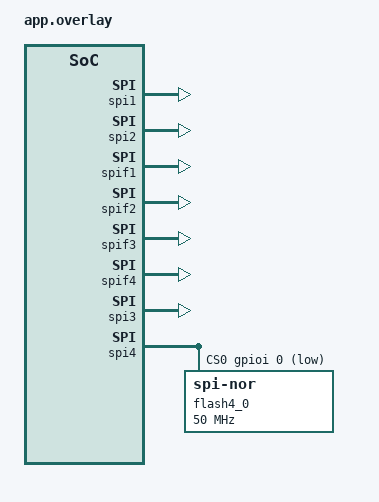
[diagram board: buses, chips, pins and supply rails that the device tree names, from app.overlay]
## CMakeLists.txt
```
# SPDX-License-Identifier: Apache-2.0

cmake_minimum_required(VERSION 3.20.0)

# ---------------------------------------------------------------------------
# pfr_tpm 模块注册。
# zephyr/west.yml 未登记该模块；app.overlay 的 "lsqsh_pinctrl_pfr_tpm.dtsi"
# 必须在 find_package(Zephyr) 之前通过 EXTRA_ZEPHYR_MODULES 就地注册，
# 否则 DT 预处理报 "lsqsh_pinctrl_pfr_tpm.dtsi: No such file or directory"。
# 路径相对本文件推算（上溯 4 级 = 工作区根）。
# ---------------------------------------------------------------------------
get_filename_component(PFR_TPM_DIR
    "${CMAKE_CURRENT_SOURCE_DIR}/../../../../modules/lib/zephyr_pfr_tpm" ABSOLUTE)
set(EXTRA_ZEPHYR_MODULES ${PFR_TPM_DIR})

find_package(Zephyr REQUIRED HINTS $ENV{ZEPHYR_BASE})
project(cpu1_spi_spif_test)

# 项目特定源文件
target_sources(app PRIVATE
    src/main.c
    src/spi_test.c
    src/spi_flash.c
    src/spif_test.c
    src/spif_loopback.c)

# 项目特定 include 目录
target_include_directories(app PRIVATE
    ${CMAKE_CURRENT_SOURCE_DIR}/../tests/include)

# 包含公共源文件和配置（test_results.c, ztest_glue.c, gpio_toggle.c）
include(${CMAKE_CURRENT_SOURCE_DIR}/../../../common/common_sources.cmake)
```

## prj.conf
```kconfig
# SPDX-License-Identifier: Apache-2.0
#
# spi_spif_test 单核 cpu1 固件配置：spi_ls（spi1/spi2）+ spi_filter（spif1..4）
# + spif3 master -> spi4 -> flash4_0（SPEC_REFERENCE §6.1.7 / §6.1.8）。

# ---- log 规范（§6.1.7）：统一 LOG_INF，buf 模式异步输出 ----
CONFIG_LOG=y
CONFIG_LOG_MODE_DEFERRED=y
CONFIG_LOG_BUFFER_SIZE=16384
CONFIG_LOG_PROCESS_THREAD_SLEEP_MS=10
CONFIG_LOG_BACKEND_UART=y
CONFIG_LOG_PRINTK=n
CONFIG_SERIAL=y
CONFIG_SHELL=n

# ---- ztest（§6.2.1）：逐项输出必须打开 ----
CONFIG_ZTEST=y
CONFIG_ZTEST_ASSERT_VERBOSE=1
CONFIG_ZTEST_VERBOSE_OUTPUT=y
CONFIG_ZTEST_SUMMARY=n

# ---- libc 三件套（§10.35 / KNOWN_ISSUES #58）----
CONFIG_PICOLIBC=y
CONFIG_NEWLIB_LIBC=n
CONFIG_MINIMAL_LIBC=n

# ---- SPI：spi1/spi2（linkedsemi,ls-spi）+ spi3/spi4（snps,designware-spi）----
# 实例在 overlay 置 okay 后由 DT_HAS_*_ENABLED 自动编入；这里显式声明意图。
CONFIG_SPI=y
CONFIG_SPI_DW=y
CONFIG_SPI_EXTENDED_MODES=y

# ---- 被测驱动：pfr_tpm spi filter（spif1..4）----
# CONFIG_SPI_FILTER_LINKEDSEMI 默认 y（depends on DT_HAS_LINKEDSEMI_SPI_FILTER_ENABLED），
# 且 select SPI / select DMA；CONFIG_PFR_TPM_LINKER_LD 随之 default y
# （模块 common/linker.ld 把各实例的白名单镜像放 PFR_TPM 段，本工程依赖该段）。
CONFIG_SPI_FILTER_LINKEDSEMI=y
CONFIG_DMA=y

# ---- flash4_0：jedec,spi-nor 上层（spi_nor_multi_dev.c）----
# 老的单实例 SPI_NOR 驱动必须关掉（spi_nor_multi_dev.c 顶部有 #error 守卫）。
CONFIG_FLASH=y
CONFIG_FLASH_PAGE_LAYOUT=y
CONFIG_FLASH_JESD216_API=y
CONFIG_SPI_NOR=n
CONFIG_SPI_NOR_MULTI_DEV=y

# ---- spi_flash 套件的 malloc 缓冲用例：k_malloc / k_aligned_alloc ----
CONFIG_HEAP_MEM_POOL_SIZE=16384

# ---- GPIO toggle 线程（公共层 gpio_toggle.c 依赖）+ spi1/spi2 的 CS GPIO ----
CONFIG_GPIO=y

# ---- 复位/掉电维度用例（post_reset_state）需要 reset 子系统 ----
CONFIG_RESET=y

# ---- spi_ls.c:415-472 的 clock_control/on/off 路径 ----
CONFIG_CLOCK_CONTROL=y
```

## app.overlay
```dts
/*
 * SPDX-License-Identifier: Apache-2.0
 *
 * spi_spif_test overlay（单核 cpu1 安全域）：同时使能三套被测路径。
 *
 *   A. 套件 `spi`       —— spi1 / spi2（linkedsemi,ls-spi -> zephyr/drivers/spi/spi_ls.c）
 *                          片内 pinctrl + CS GPIO，无外部接线。
 *   B. 套件 `spi_flash` —— spif3 master -> spi4（snps,designware-spi）
 *                          -> flash4_0（jedec,spi-nor），板载 NOR，无外部接线。
 *   C. 套件 `spif`      —— spif1..spif4（linkedsemi,spi-filter）
 *                          寄存器级用例零外部条件；master/回环用例走板载 flash。
 *
 * 外部条件（SPEC_REFERENCE §6.6）：
 *   - SPIF 的 in/out 管脚在板级连到 spi3 / spi4 上挂的 NOR flash；master 模式
 *     与回环用例经这条板载路径访问 flash4_0 / flash3_0，不需要外部跳线。
 *   - 其余寄存器级用例零外部条件。
 *
 * ⚠️ 配对控制器必须让渡引脚（P4.7 裁定，依据参考资产 spi_master_communication /
 *    spi_monitor_filter 的 overlay，二者在实机跑通）：
 *    SPIF 切 master 模式走的是 SPIF 自己的 `pinctrl-2`(master 态) 管脚
 *    （如 spif3 -> PF09/PF05/PF03/PF11/PF07 + CSN PI00），而配对的 DW SPI 控制器
 *    默认仍持板级 pinctrl（spi3 -> PG14/PG15/PG03/PE01/PE00；spi4 -> PQ00/PQ03…）。
 *    两组管脚不同 ⇒ 不清空配对控制器的 `pinctrl-0` 就是"两个 owner 抢一组 net"。
 *    故此处显式清空（同型问题见 gotchas G-P4-4「配对 I2C 控制器 pinctrl-noinit」）。
 */

#include "lsqsh_pinctrl_pfr_tpm.dtsi"

/ {
	aliases {
		/* spif3 同时用于 spif 套件（filter 实例）与 spi_flash 套件（master） */
		spif = &spif3;
		spifilter = &spif3;
		spifiltermaster = &spif1;
		spifmaster = &spif1;
		spiflash = &flash4_0;
	};

	chosen {
		zephyr,console = &uart1;
	};
};

/* -------------------------------------------------------------------------- */
/* A. spi_ls 用例：spi1 / spi2                                                 */
/* -------------------------------------------------------------------------- */

/* spi1：PA00=SCK / PA01=MOSI / PA02=MISO，CS = gpioa 3（板级 pinctrl 已声明） */
&spi1 {
	status = "okay";
};

/* spi2：PJ12=SCK / PJ13=MOSI / PJ14=MISO，CS = gpioj 15（板级 pinctrl 已声明） */
&spi2 {
	status = "okay";
};

/*
 * spi2 的 CS 在 GPIOJ —— 板级已使能该端口；这里显式保留，避免板级配置变动时
 * spi_ls_init() 的 spi_context_cs_configure_all() 静默 -ENODEV。
 */
&gpioj {
	status = "okay";
};

/* -------------------------------------------------------------------------- */
/* C. SPIF 实例：spif1..spif4                                                  */
/* -------------------------------------------------------------------------- */

&spif1 {
	status = "okay";
};

&spif2 {
	status = "okay";
};

/*
 * spif3 的相邻实例是 spif4（spi_filter.c 的 spif_spi_check_dev_name_arr）。
 * spif_switch_to_mode(spif_master) 会 device_get_binding 相邻节点；若 spif4
 * 未使能会命中 __ASSERT_NO_MSG(0)，故必须一起打开。
 */
&spif3 {
	cmd-page-program-quad-addr-quad-data = <0xc2>;
	cmd-quad-spi-mode-enter = <0x38>;
	cmd-quad-spi-mode-exit = <0xff>;
	status = "okay";
};

&spif4 {
	cmd-page-program-quad-addr-quad-data = <0xc2>;
	cmd-quad-spi-mode-enter = <0x38>;
	cmd-quad-spi-mode-exit = <0xff>;
	status = "okay";
};

/* -------------------------------------------------------------------------- */
/* B. flash 通路：spif3 -> spi4 -> flash4_0                                    */
/* -------------------------------------------------------------------------- */

/* CS 数组下标与 SPIF 的 cs-gpios 对应（SPIF3 -> CS0 = GPIOI 0） */
&spi3 {
	cs-gpios = <&gpioi 8 GPIO_ACTIVE_LOW>,
		    <&gpiog 2 GPIO_ACTIVE_LOW>;
	/* 引脚让渡给 SPIF master 态（spif1/spif2 的 spi = <&spi3>） */
	pinctrl-0 = <>;
	pinctrl-names = "default";
	/* 无 flash 子节点 ⇒ 幅度校准数组为空；显式关闭校准避免越界读 */
	timing-calibration-disabled;
	status = "okay";
};

&spi4 {
	cs-gpios = <&gpioi 0 GPIO_ACTIVE_LOW>,
		    <&gpioq 0 GPIO_ACTIVE_LOW>;
	/* 引脚让渡给 SPIF master 态（spif3/spif4 的 spi = <&spi4>） */
	pinctrl-0 = <>;
	pinctrl-names = "default";
	dmas = <&dmac2 6 DMA_SPI4_RX>, <&dmac2 6 DMA_SPI4_TX>;
	dma-names = "rx", "tx";
	status = "okay";

	flash4_0: flash4@0 {
		compatible = "jedec,spi-nor";
		reg = <0>;
		spi-max-frequency = <DT_FREQ_M(50)>;
		spi-max-buswidth = <4>;
		re-init-support;
		status = "okay";
	};
};

/*
 * spif1/spif2 的 dmas 引用 dmac1，spif3/spif4 与 spi_dw 引用 dmac2：
 * spi_dw.c 要求 DMA 控制器已使能，且 CONFIG_DMA_DW_LLI_POOL_SIZE
 * 只在 DW DMA 编入时才有定义。
 */
&dmac1 {
	status = "okay";
};

&dmac2 {
	status = "okay";
};

/* GPIO toggle 使能块统一走公共层（SPEC_REFERENCE §6.1.9 复用收敛） */
#include "../../../common/gpio_toggle.dtsi"
```

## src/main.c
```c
/*
 * SPDX-License-Identifier: Apache-2.0
 *
 * spi_spif_test 单核测试入口（cpu1 安全域）。
 * 纯 ztest：test_main 打印角色 banner 后 zt_init + zt_run_all
 * （common/ztest_glue），不返回（同 ztest 语义）。
 */

#include <zephyr/kernel.h>
#include <zephyr/device.h>
#include <zephyr/logging/log.h>

#include "ztest_glue.h"

LOG_MODULE_REGISTER(spi_spif_test, LOG_LEVEL_INF);

void test_main(void)
{
	LOG_INF("[CPU1 SPI_SPIF] spi_ls + spi filter test started");   /* 角色 banner（harness 依赖） */

	zt_init("TGT");
	zt_run_all();
}
```

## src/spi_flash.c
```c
/*
 * SPDX-License-Identifier: Apache-2.0
 *
 * spi_flash.c —— spif3 master -> flash4_0 的 flash 访问用例。
 * （spi_flash 套件，由 spi_test 合并进 spi_spif_test；master 切换走
 *   spif_switch_to_mode + spif_pinctrl_state_get。）
 *
 * 被测通路（板载，无外部接线）：
 *   spif3（linkedsemi,spi-filter，master 态）-> spi4（snps,designware-spi）
 *   -> flash4_0（jedec,spi-nor / zephyr/drivers/flash/spi_nor_multi_dev.c）
 *
 * 覆盖维度：
 *   - flash_ready                  : spif3 切 master + flash 设备/JEDEC ID/容量契约
 *   - erase_all_ff                 : 擦除后回读必须全 0xFF
 *   - read_aligned_len_sweep       : 对齐缓冲，读长度 1..4096，逐字节比对
 *   - read_unaligned_len_sweep     : 非对齐缓冲，读长度 1..4096，逐字节比对
 *   - write_aligned_len_sweep      : 对齐缓冲，写长度 1..256，擦除后写读比对
 *   - write_unaligned_len_sweep    : 非对齐缓冲，写长度 1..256，擦除后写读比对
 *
 * 判据不是“返回 0 就算过”：每条用例都把读回内容与写入 pattern 逐字节比对；
 * 擦除用例比对 0xFF。对齐/非对齐指**数据缓冲区地址**（cache line / DMA 对齐），
 * 缓冲一律用静态数组，不用堆（避免 NULL 分配把串口打挂，SPEC_REFERENCE §6.1）。
 */

#include <zephyr/kernel.h>
#include <zephyr/ztest.h>
#include <zephyr/device.h>
#include <zephyr/devicetree.h>
#include <zephyr/drivers/flash.h>
#include <zephyr/logging/log.h>
#include <zephyr/sys/util.h>
#include <string.h>

#include <spi_filter.h>

#include "ztest_glue.h"
#include "spi_spif_test.h"

LOG_MODULE_REGISTER(spi_flash, LOG_LEVEL_INF);

/* 失败现场（GDB/内存兜底可读）：stage 1=page info, 2=erase, 3=read, 4=write */
volatile int spi_flash_dbg_stage;
volatile int spi_flash_dbg_ret;
volatile int spi_flash_dbg_len;
volatile int spi_flash_dbg_idx;
volatile int spi_flash_dbg_exp;
volatile int spi_flash_dbg_act;

/* -------------------------------------------------------------------------- */
/* 硬件/区域常量                                                               */
/* -------------------------------------------------------------------------- */

/*
 * 测试区放在 1 MiB 之后：flash4_0 为板载 64/128 MiB NOR，前 1 MiB 让给
 * 板上固件/布局；三个区域互不重叠。擦除按 flash 页大小向上覆盖。
 */
#define FLASH_READ_REGION      0x100000U   /* 读/擦用例：1 个 sector 起 */
#define FLASH_WRITE_REGION_A   0x110000U   /* 对齐写：64 KiB */
#define FLASH_WRITE_REGION_U   0x120000U   /* 非对齐写：64 KiB */

#define READ_MAX_LEN           4096U
#define WRITE_MAX_LEN          256U
#define WRITE_PAGE_STRIDE      256U
#define WRITE_REGION_SIZE      (WRITE_MAX_LEN * WRITE_PAGE_STRIDE) /* 64 KiB */

/* -------------------------------------------------------------------------- */
/* 设备                                                                        */
/* -------------------------------------------------------------------------- */

static const struct device *const flash_spif_dev = DEVICE_DT_GET(DT_ALIAS(spifilter));
static const struct device *const flash_dev = DEVICE_DT_GET(DT_ALIAS(spiflash));

/* -------------------------------------------------------------------------- */
/* 缓冲（静态；对齐/非对齐两套，非对齐指针 = 数组 + 8）                          */
/* -------------------------------------------------------------------------- */

static uint8_t pattern[READ_MAX_LEN] __aligned(CONFIG_DCACHE_LINE_SIZE);

static uint8_t rd_aligned[READ_MAX_LEN] __aligned(CONFIG_DCACHE_LINE_SIZE);
static uint8_t rd_unaligned_raw[READ_MAX_LEN + CONFIG_DCACHE_LINE_SIZE]
			       __aligned(CONFIG_DCACHE_LINE_SIZE);

static uint8_t wr_aligned[WRITE_MAX_LEN] __aligned(CONFIG_DCACHE_LINE_SIZE);
static uint8_t wr_unaligned_raw[WRITE_MAX_LEN + CONFIG_DCACHE_LINE_SIZE]
				__aligned(CONFIG_DCACHE_LINE_SIZE);
static uint8_t rb_aligned[WRITE_MAX_LEN] __aligned(CONFIG_DCACHE_LINE_SIZE);
static uint8_t rb_unaligned_raw[WRITE_MAX_LEN + CONFIG_DCACHE_LINE_SIZE]
				__aligned(CONFIG_DCACHE_LINE_SIZE);

/* -------------------------------------------------------------------------- */
/* 工具                                                                        */
/* -------------------------------------------------------------------------- */

struct sweep_result {
	size_t fail;
	size_t first_fail;
};

static uint8_t *unaligned_ptr(uint8_t *raw)
{
	/*
	 * raw 本身按 cache line 对齐；+8 模拟 k_malloc() 返回的 8 字节对齐
	 * 堆缓冲（相对 32 B cache line 仍然“非对齐”）。不要用 +1：当前
	 * spi_nor/DW-SPI 的写路径要求源缓冲至少 4 字节对齐，+1 会把
	 * cache line 边界字节写成 0xFF（实测 len=35 idx=31）。
	 */
	return raw + 8U;
}

static void fill_pattern(uint8_t *buf, size_t len, uint8_t seed)
{
	for (size_t i = 0; i < len; i++) {
		buf[i] = (uint8_t)(seed + 3U * (uint8_t)i + (uint8_t)(i >> 5));
	}
}

static int erase_region(const struct device *flash, off_t addr, size_t len)
{
	off_t pos = addr;
	off_t end = addr + (off_t)len;

	while (pos < end) {
		struct flash_pages_info page;
		int ret = flash_get_page_info_by_offs(flash, pos, &page);

		if (ret != 0) {
			spi_flash_dbg_stage = 1;
			spi_flash_dbg_ret = ret;
			return ret;
		}
		if (page.size == 0U) {
			spi_flash_dbg_stage = 1;
			spi_flash_dbg_ret = -EINVAL;
			return -EINVAL;
		}
		ret = flash_erase(flash, page.start_offset, page.size);
		if (ret != 0) {
			spi_flash_dbg_stage = 2;
			spi_flash_dbg_ret = ret;
			return ret;
		}
		pos = page.start_offset + (off_t)page.size;
	}

	return 0;
}

/* 写一段 pattern，再读回逐字节比对；返回首个失败长度与失败次数。 */
static struct sweep_result read_sweep(bool aligned, bool use_malloc)
{
	struct sweep_result r = { 0 };
	uint8_t *dst_static = aligned ? rd_aligned : unaligned_ptr(rd_unaligned_raw);
	int ret;

	fill_pattern(pattern, READ_MAX_LEN, 0x5AU);

	ret = erase_region(flash_dev, FLASH_READ_REGION, READ_MAX_LEN);
	if (ret != 0) {
		r.fail = 1;
		return r;
	}

	ret = flash_write(flash_dev, FLASH_READ_REGION, pattern, READ_MAX_LEN);
	if (ret != 0) {
		r.fail = 1;
		return r;
	}

	for (size_t len = 1; len <= READ_MAX_LEN; len++) {
		uint8_t *dst = dst_static;

		if (use_malloc) {
			dst = aligned ? k_aligned_alloc(CONFIG_DCACHE_LINE_SIZE, len)
				      : k_malloc(len);
			if (dst == NULL) {
				if (r.fail == 0U) {
					r.first_fail = len;
				}
				r.fail++;
				continue;
			}
		}

		memset(dst, 0xA5, len);
		ret = flash_read(flash_dev, FLASH_READ_REGION, dst, len);
		if (ret != 0 || memcmp(dst, pattern, len) != 0) {
			if (r.fail == 0U) {
				r.first_fail = len;
			}
			r.fail++;
		}
		if (use_malloc) {
			k_free(dst);
		}
	}

	return r;
}

/* 每个长度写入独立页，擦一次 64 KiB 区域后再逐个写/读比对。 */
static struct sweep_result write_sweep(bool aligned, bool use_malloc, off_t base)
{
	struct sweep_result r = { 0 };
	uint8_t *src_static = aligned ? wr_aligned : unaligned_ptr(wr_unaligned_raw);
	uint8_t *rb_static = aligned ? rb_aligned : unaligned_ptr(rb_unaligned_raw);
	int ret;

	ret = erase_region(flash_dev, base, WRITE_REGION_SIZE);
	if (ret != 0) {
		r.fail = 1;
		return r;
	}

	for (size_t len = 1; len <= WRITE_MAX_LEN; len++) {
		/* 每档独占一个 256 B 页，长度 <= 页大小，不跨页 */
		off_t addr = base + (off_t)((len - 1U) * WRITE_PAGE_STRIDE);
		uint8_t *src = src_static;
		uint8_t *rb = rb_static;

		if (use_malloc) {
			src = aligned ? k_aligned_alloc(CONFIG_DCACHE_LINE_SIZE, len)
				      : k_malloc(len);
			rb = aligned ? k_aligned_alloc(CONFIG_DCACHE_LINE_SIZE, len)
				     : k_malloc(len);
			if (src == NULL || rb == NULL) {
				if (r.fail == 0U) {
					r.first_fail = len;
				}
				r.fail++;
				k_free(src);
				k_free(rb);
				continue;
			}
		}

		fill_pattern(src, len, (uint8_t)len);
		memset(rb, 0x5A, len);
		ret = flash_write(flash_dev, addr, src, len);
		if (ret != 0) {
			if (r.fail == 0U) {
				spi_flash_dbg_stage = 4;
				spi_flash_dbg_ret = ret;
				spi_flash_dbg_len = (int)len;
			}
		} else {
			ret = flash_read(flash_dev, addr, rb, len);
			if (ret != 0) {
				if (r.fail == 0U) {
					spi_flash_dbg_stage = 5;
					spi_flash_dbg_ret = ret;
					spi_flash_dbg_len = (int)len;
				}
			} else if (memcmp(src, rb, len) != 0) {
				if (r.fail == 0U) {
					spi_flash_dbg_stage = 6;
					spi_flash_dbg_ret = 0;
					spi_flash_dbg_len = (int)len;
					for (size_t i = 0; i < len; i++) {
						if (src[i] != rb[i]) {
							spi_flash_dbg_idx = (int)i;
							spi_flash_dbg_exp = src[i];
							spi_flash_dbg_act = rb[i];
							break;
						}
					}
				}
			}
		}
		if (ret != 0 || memcmp(src, rb, len) != 0) {
			if (r.fail == 0U) {
				r.first_fail = len;
			}
			r.fail++;
		}
		if (use_malloc) {
			k_free(src);
			k_free(rb);
		}
	}

	return r;
}

/* -------------------------------------------------------------------------- */
/* 套件 setup：spif3 必须是 master                                             */
/* -------------------------------------------------------------------------- */

static void *spi_flash_suite_setup(void)
{
	uint8_t id[3] = { 0 };
	int ret;

	zassert_true(device_is_ready(flash_spif_dev), "spif3（%s）设备不就绪",
		     flash_spif_dev->name);

	ret = spif_switch_to_mode(flash_spif_dev, spif_master, spif_pinctrl_master);
	zassert_ok(ret, "spif_switch_to_mode(spif_master) 失败: %d", ret);
	zassert_equal(spif_pinctrl_state_get(flash_spif_dev), spif_pinctrl_master,
		      "spif3 pinctrl 未进入 master 态");

	zassert_true(device_is_ready(flash_dev), "flash4_0（%s）设备不就绪",
		     flash_dev->name);

	/*
	 * flash 驱动在 POST_KERNEL 时 spif3 还不是 master，首次 init 会失败并
	 * 依赖 re-init 机制。`flash_get_page_info_by_offs()` / `flash_read_jedec_id()`
	 * 都不会触发 re-init（前者读布局，后者只发 RDID），只有 read/write/erase
	 * 会走 `spi_nor_re_init()`；故这里先做一次 4 B read，把 SFDP、容量和
	 * page layout 真正建立起来，后面的 erase/page-info 才有效。
	 */
	ret = flash_read(flash_dev, 0, pattern, 4);
	zassert_ok(ret, "flash4_0 初始化读失败: %d", ret);

	ret = flash_read_jedec_id(flash_dev, id);
	zassert_ok(ret, "flash4_0 JEDEC 读取失败: %d", ret);

	return NULL;
}

/* -------------------------------------------------------------------------- */
/* 用例                                                                        */
/* -------------------------------------------------------------------------- */

ZTEST(spi_flash, flash_ready)
{
	const struct flash_parameters *params;
	uint8_t id[3] = { 0 };
	bool all_0 = true;
	bool all_ff = true;
	int ret;

	ret = flash_read_jedec_id(flash_dev, id);
	zassert_ok(ret, "flash_read_jedec_id 失败: %d", ret);

	for (size_t i = 0; i < ARRAY_SIZE(id); i++) {
		all_0 = all_0 && (id[i] == 0x00U);
		all_ff = all_ff && (id[i] == 0xFFU);
	}

	params = flash_get_parameters(flash_dev);
	zassert_true(params != NULL, "flash_get_parameters 返回 NULL");
	zassert_true(params->flash_size > (size_t)FLASH_WRITE_REGION_U + WRITE_REGION_SIZE,
		     "flash 容量 0x%zx 覆盖不到测试区 0x%x",
		     params->flash_size, FLASH_WRITE_REGION_U + WRITE_REGION_SIZE);

	ZT_INFO("flash_ready", "jedec=%02x%02x%02x,size=%u,erase=%02x",
		id[0], id[1], id[2], (unsigned int)params->flash_size,
		params->erase_value);

	zassert_false(all_0 || all_ff, "JEDEC ID 非法: %02x %02x %02x",
		      id[0], id[1], id[2]);
}

/*
 * alloc_read_smoke —— malloc 只读冒烟：只验证 flash_read 返回 0，
 * 不比对内容、不擦写。放在 spi_flash 套件最前，作为读写扫描前的
 * "链路 + 堆分配" 快速确认。
 */
ZTEST(spi_flash, alloc_read_smoke)
{
	const size_t len = READ_MAX_LEN;
	uint8_t *buf = k_malloc(len);
	int ret;

	zassert_not_null(buf, "k_malloc(%u) 失败", (unsigned int)len);

	ret = flash_read(flash_dev, 0, buf, len);
	ZT_INFO("alloc_read_smoke", "len=%u,ret=%d", (unsigned int)len, ret);
	zassert_ok(ret, "malloc 只读失败: %d", ret);

	k_free(buf);
}

ZTEST(spi_flash, erase_all_ff)
{
	size_t ff = 0;
	int ret;

	ret = erase_region(flash_dev, FLASH_READ_REGION, READ_MAX_LEN);
	zassert_ok(ret, "flash_erase 失败: %d", ret);

	ret = flash_read(flash_dev, FLASH_READ_REGION, rd_aligned, READ_MAX_LEN);
	zassert_ok(ret, "擦除后 flash_read 失败: %d", ret);

	for (size_t i = 0; i < READ_MAX_LEN; i++) {
		if (rd_aligned[i] == 0xFFU) {
			ff++;
		}
	}

	ZT_INFO("erase_all_ff", "ff_bytes=%u,total=%u", (unsigned int)ff,
		(unsigned int)READ_MAX_LEN);
	zassert_equal(ff, READ_MAX_LEN, "擦除后回读不是全 0xFF: %u/%u",
		      (unsigned int)ff, (unsigned int)READ_MAX_LEN);
}

ZTEST(spi_flash, read_aligned_len_sweep)
{
	struct sweep_result r = read_sweep(true, false);

	ZT_INFO("read_aligned_len_sweep", "min=1,max=%u,fail=%u,first=%u",
		(unsigned int)READ_MAX_LEN, (unsigned int)r.fail,
		(unsigned int)r.first_fail);
	zassert_equal(r.fail, 0U, "对齐读失败 %u 次，首个失败 len=%u",
		      (unsigned int)r.fail, (unsigned int)r.first_fail);
}

ZTEST(spi_flash, read_unaligned_len_sweep)
{
	struct sweep_result r = read_sweep(false, false);

	ZT_INFO("read_unaligned_len_sweep", "min=1,max=%u,fail=%u,first=%u",
		(unsigned int)READ_MAX_LEN, (unsigned int)r.fail,
		(unsigned int)r.first_fail);
	zassert_equal(r.fail, 0U, "非对齐读失败 %u 次，首个失败 len=%u",
		      (unsigned int)r.fail, (unsigned int)r.first_fail);
}

ZTEST(spi_flash, read_malloc_aligned_len_sweep)
{
	struct sweep_result r = read_sweep(true, true);

	ZT_INFO("read_malloc_aligned_len_sweep", "min=1,max=%u,fail=%u,first=%u",
		(unsigned int)READ_MAX_LEN, (unsigned int)r.fail,
		(unsigned int)r.first_fail);
	zassert_equal(r.fail, 0U, "malloc 对齐读失败 %u 次，首个失败 len=%u",
		      (unsigned int)r.fail, (unsigned int)r.first_fail);
}

ZTEST(spi_flash, read_malloc_unaligned_len_sweep)
{
	struct sweep_result r = read_sweep(false, true);

	ZT_INFO("read_malloc_unaligned_len_sweep", "min=1,max=%u,fail=%u,first=%u",
		(unsigned int)READ_MAX_LEN, (unsigned int)r.fail,
		(unsigned int)r.first_fail);
	zassert_equal(r.fail, 0U, "malloc 非对齐读失败 %u 次，首个失败 len=%u",
		      (unsigned int)r.fail, (unsigned int)r.first_fail);
}

ZTEST(spi_flash, write_aligned_len_sweep)
{
	spi_flash_dbg_stage = 0;
	spi_flash_dbg_ret = 0;
	spi_flash_dbg_len = 0;
	spi_flash_dbg_idx = -1;
	spi_flash_dbg_exp = 0;
	spi_flash_dbg_act = 0;
	struct sweep_result r = write_sweep(true, false, FLASH_WRITE_REGION_A);

	ZT_INFO("write_aligned_len_sweep", "min=1,max=%u,fail=%u,first=%u,stage=%d,ret=%d,dlen=%d,idx=%d,exp=%02x,act=%02x",
		(unsigned int)WRITE_MAX_LEN, (unsigned int)r.fail,
		(unsigned int)r.first_fail, spi_flash_dbg_stage, spi_flash_dbg_ret,
		spi_flash_dbg_len, spi_flash_dbg_idx, spi_flash_dbg_exp,
		spi_flash_dbg_act);
	zassert_equal(r.fail, 0U, "对齐写失败 %u 次，首个失败 len=%u",
		      (unsigned int)r.fail, (unsigned int)r.first_fail);
}

ZTEST(spi_flash, write_unaligned_len_sweep)
{
	spi_flash_dbg_stage = 0;
	spi_flash_dbg_ret = 0;
	spi_flash_dbg_len = 0;
	spi_flash_dbg_idx = -1;
	spi_flash_dbg_exp = 0;
	spi_flash_dbg_act = 0;
	struct sweep_result r = write_sweep(false, false, FLASH_WRITE_REGION_U);

	ZT_INFO("write_unaligned_len_sweep", "min=1,max=%u,fail=%u,first=%u,stage=%d,ret=%d,dlen=%d,idx=%d,exp=%02x,act=%02x",
		(unsigned int)WRITE_MAX_LEN, (unsigned int)r.fail,
		(unsigned int)r.first_fail, spi_flash_dbg_stage, spi_flash_dbg_ret,
		spi_flash_dbg_len, spi_flash_dbg_idx, spi_flash_dbg_exp,
		spi_flash_dbg_act);
	zassert_equal(r.fail, 0U, "非对齐写失败 %u 次，首个失败 len=%u",
		      (unsigned int)r.fail, (unsigned int)r.first_fail);
}

ZTEST(spi_flash, write_malloc_aligned_len_sweep)
{
	spi_flash_dbg_stage = 0;
	spi_flash_dbg_ret = 0;
	spi_flash_dbg_len = 0;
	spi_flash_dbg_idx = -1;
	spi_flash_dbg_exp = 0;
	spi_flash_dbg_act = 0;
	struct sweep_result r = write_sweep(true, true, FLASH_WRITE_REGION_A);

	ZT_INFO("write_malloc_aligned_len_sweep", "min=1,max=%u,fail=%u,first=%u,stage=%d,ret=%d,dlen=%d,idx=%d,exp=%02x,act=%02x",
		(unsigned int)WRITE_MAX_LEN, (unsigned int)r.fail,
		(unsigned int)r.first_fail, spi_flash_dbg_stage, spi_flash_dbg_ret,
		spi_flash_dbg_len, spi_flash_dbg_idx, spi_flash_dbg_exp,
		spi_flash_dbg_act);
	zassert_equal(r.fail, 0U, "malloc 对齐写失败 %u 次，首个失败 len=%u",
		      (unsigned int)r.fail, (unsigned int)r.first_fail);
}

ZTEST(spi_flash, write_malloc_unaligned_len_sweep)
{
	spi_flash_dbg_stage = 0;
	spi_flash_dbg_ret = 0;
	spi_flash_dbg_len = 0;
	spi_flash_dbg_idx = -1;
	spi_flash_dbg_exp = 0;
	spi_flash_dbg_act = 0;
	struct sweep_result r = write_sweep(false, true, FLASH_WRITE_REGION_U);

	ZT_INFO("write_malloc_unaligned_len_sweep", "min=1,max=%u,fail=%u,first=%u,stage=%d,ret=%d,dlen=%d,idx=%d,exp=%02x,act=%02x",
		(unsigned int)WRITE_MAX_LEN, (unsigned int)r.fail,
		(unsigned int)r.first_fail, spi_flash_dbg_stage, spi_flash_dbg_ret,
		spi_flash_dbg_len, spi_flash_dbg_idx, spi_flash_dbg_exp,
		spi_flash_dbg_act);
	zassert_equal(r.fail, 0U, "malloc 非对齐写失败 %u 次，首个失败 len=%u",
		      (unsigned int)r.fail, (unsigned int)r.first_fail);
}

/*
 * 套件收尾：把 spif3 从 master 态恢复为 filter 态（单线 passthrough），
 * 避免后续 spif 套件的用例继承"相邻实例仍在 master"的残留状态。
 */
static void spi_flash_suite_teardown(void *data)
{
	ARG_UNUSED(data);

	(void)spif_switch_to_mode(flash_spif_dev, spif_filter, spif_single_passthrough);
}

/* -------------------------------------------------------------------------- */
/* 套件：setup/teardown 为套件级；before/after 为用例级（本套件不用）             */
/* -------------------------------------------------------------------------- */

ZTEST_SUITE(spi_flash, NULL, spi_flash_suite_setup, NULL, NULL,
	    spi_flash_suite_teardown);
```

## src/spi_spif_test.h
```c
/*
 * SPDX-License-Identifier: Apache-2.0
 *
 * spi_spif_test 公共定义（单核 cpu1）。
 *
 * 合并工程实例范围：
 *   - spi1 / spi2：`linkedsemi,ls-spi`（zephyr/drivers/spi/spi_ls.c）
 *   - spif1..spif4：`linkedsemi,spi-filter`（pfr_tpm spi_filter.c）
 * 覆盖矩阵见 tests/COVERAGE.md。
 */

#ifndef SPI_SPIF_TEST_H_
#define SPI_SPIF_TEST_H_

#include <zephyr/device.h>
#include <spi_filter.h>
#include <stdint.h>

/* spi_ls 被测实例数（spi1/spi2） */
#define SPI_INST_NUM 2

/* SPIF 被测实例数（spif1..spif4，overlay 全使能） */
#define SPIF_INST_NUM 4

/* idx 0..1 → spi1/spi2；越界返回 NULL */
const struct device *spi_dev(int idx);

/* idx 0..1 → spiN 寄存器基址（reg_spi_t）；越界返回 0 */
uintptr_t spi_reg_base(int idx);

/* idx 0..3 → spif1..spif4（DT index 属性同序）；越界返回 NULL */
const struct device *spif_dev(int idx);

/* idx 0..3 → spifN 寄存器基址；越界返回 0 */
uintptr_t spif_reg_base(int idx);

#endif /* SPI_SPIF_TEST_H_ */
```

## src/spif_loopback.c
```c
/*
 * SPDX-License-Identifier: Apache-2.0
 *
 * spif 套件回环用例（由 spif_test 合并进 spi_spif_test）：
 * spif1(master) + spif3(filter/passthrough) -> flash3_0。
 *
 * master/filter 切换统一走 spif_switch_to_mode()，引脚状态回读统一走
 * spif_pinctrl_state_get()。
 *
 * 参考资产：modules/lib/zephyr_pfr_tpm/samples/spi_monitor_filter/src/main.c
 *   - spif3 置 filter 态、flash_size=MB(32)、filter_enable、passthrough；
 *   - spif1 置 master 态，经其配对 spi3（CS0 = GPIOI 8）发裸 0x9F / 0x03；
 *   - spif3 在 spi4 侧做监视（in 侧外部接到 spif1/spi3 总线）。
 *
 * 本文件只读 flash，不擦写：JEDEC 读用于判定链路真的通了（不是全 0/全 FF），
 * 0x03 读用于覆盖参考资产的带地址命令形态。每项自带 setup/teardown，失败时
 * 也先把 spif1 切回 filter，避免污染后续用例。
 */

#include <zephyr/kernel.h>
#include <zephyr/ztest.h>
#include <zephyr/device.h>
#include <zephyr/drivers/spi.h>
#include <zephyr/drivers/gpio.h>
#include <zephyr/sys/util.h>
#include <zephyr/sys/sys_io.h>
#include <zephyr/logging/log.h>
#include <string.h>

#include "ztest_glue.h"
#include "spi_spif_test.h"

#include <spi_filter.h>

LOG_MODULE_REGISTER(spif_loopback, LOG_LEVEL_INF);

/* 参考资产的实例/地址选择：spif3=filter，spif1=master，flash3_0 在 spi3 CS0 */
#define LOOP_FILTER_IDX 2
#define LOOP_MASTER_IDX 0
#define LOOP_SIBLING_IDX 1
#define LOOP_READ_ADDR 0x4000u
#define LOOP_READ_LEN 8u
#define LOOP_FREQ MHZ(1)

static int loopback_setup(void)
{
	const struct device *filter = spif_dev(LOOP_FILTER_IDX);
	const struct device *master = spif_dev(LOOP_MASTER_IDX);
	const struct device *sibling = spif_dev(LOOP_SIBLING_IDX);
	int ret;

	ret = linkedsemi_spi_filter_cold_reset(filter);
	if (ret != 0) {
		return ret;
	}

	ret = spif_flash_size_set(filter, MB(32));
	if (ret != 0) {
		return ret;
	}

	spif_filter_enable(filter, true);
	if (spif_pinctrl_state_get(filter) != spif_single_passthrough) {
		return -EIO;
	}

	ret = spif_passthrough_analog_mux_enable(filter, true);
	if (ret != 0) {
		return ret;
	}
	if (spif_pinctrl_state_get(filter) != spif_multi_passthrough) {
		return -EIO;
	}

	/* 参考资产只显式放行 0x03；JEDEC 0x9F 不在固定表默认项里，cold_reset
	 * 后其 EN=0，需要显式 add，否则 filter 会把 0x9F 当非法命令。 */
	ret = spif_add_cmd(filter, 0x9f);
	if (ret != 0) {
		return ret;
	}
	ret = spif_add_cmd(filter, 0x03);
	if (ret != 0) {
		return ret;
	}

	/* 参考资产调用 configure_address_protection(DISABLE) 清掉 0x4000..0x8000
	 * 的 allow 位；驱动语义里 DISABLE = 标记为非法，会在 filter 日志里打
	 * ADDR_ERR（流量仍可透传）。本用例验证链路而非保护错误，故显式 ENABLE
	 * 该区间，保持 cold_reset 默认的全片放行语义。 */
	ret = spif_address_privilege_config(filter, FLAG_ADDR_PRIV_READ_SELECT,
					    FLAG_ADDR_PRIV_ENABLE, LOOP_READ_ADDR,
					    KB(16));
	if (ret != 0) {
		return ret;
	}
	ret = spif_address_privilege_config(filter, FLAG_ADDR_PRIV_WRITE_SELECT,
					    FLAG_ADDR_PRIV_ENABLE, LOOP_READ_ADDR,
					    KB(16));
	if (ret != 0) {
		return ret;
	}

	/* spif1 的相邻实例 spif2 必须先回 filter，否则 master 切换 -EBUSY */
	ret = spif_switch_to_mode(sibling, spif_filter, spif_single_passthrough);
	if (ret != 0) {
		return ret;
	}
	ret = spif_switch_to_mode(master, spif_master, spif_pinctrl_master);
	if (ret != 0) {
		return ret;
	}
	if (spif_pinctrl_state_get(master) != spif_pinctrl_master) {
		return -EIO;
	}

	return 0;
}

static void loopback_teardown(void)
{
	(void)spif_switch_to_mode(spif_dev(LOOP_MASTER_IDX), spif_filter,
				  spif_single_passthrough);
	(void)spif_remove_cmd(spif_dev(LOOP_FILTER_IDX), 0x9f);
	(void)spif_remove_cmd(spif_dev(LOOP_FILTER_IDX), 0x03);
	(void)spif_switch_to_mode(spif_dev(LOOP_FILTER_IDX), spif_filter,
				  spif_single_passthrough);
}

static int loopback_xfer(const uint8_t *tx, size_t tx_len, uint8_t *rx, size_t rx_len)
{
	const struct device *master = spif_dev(LOOP_MASTER_IDX);
	const struct device *spi = spif_spi_dev(master);
	const struct spi_config cfg = {
		.operation = SPI_OP_MODE_MASTER | SPI_WORD_SET(8) | SPI_TRANSFER_MSB,
		.frequency = LOOP_FREQ,
		.cs = { .gpio = *(spif_spi_cs(master)) },
	};
	const struct spi_buf tx_buf = { .buf = (void *)tx, .len = tx_len };
	const struct spi_buf_set tx_set = { .buffers = &tx_buf, .count = 1 };
	struct spi_buf rx_buf = { .buf = rx, .len = rx_len };
	const struct spi_buf_set rx_set = { .buffers = &rx_buf, .count = 1 };

	if (!device_is_ready(spi)) {
		return -ENODEV;
	}

	memset(rx, 0, rx_len);
	return spi_transceive(spi, &cfg, &tx_set, &rx_set);
}

ZTEST(spif, loopback_jedec)
{
	static const uint8_t tx[] = { 0x9f };
	uint8_t rx[4] = { 0 };
	int ret;

	ret = loopback_setup();
	if (ret == 0) {
		ret = loopback_xfer(tx, sizeof(tx), rx, sizeof(rx));
	}
	loopback_teardown();

	ZT_INFO("loopback_jedec", "ret=%d,jedec=%02x%02x%02x", ret, rx[1], rx[2], rx[3]);
	zassert_ok(ret, "spif1 master JEDEC transceive failed (ret=%d)", ret);

	/* 空总线读回常是全 0 或全 FF；真实 NOR 的 JEDEC 不会两者都命中。 */
	zassert_false(rx[1] == 0x00 && rx[2] == 0x00 && rx[3] == 0x00,
		      "JEDEC read all zero (no flash / link down)");
	zassert_false(rx[1] == 0xff && rx[2] == 0xff && rx[3] == 0xff,
		      "JEDEC read all 0xff (no flash / link down)");
}

ZTEST(spif, loopback_read_addr)
{
	static const uint8_t tx[] = { 0x03, 0x00, 0x40, 0x00 }; /* 0x004000 */
	uint8_t rx[4 + LOOP_READ_LEN] = { 0 };
	int ret;

	ret = loopback_setup();
	if (ret == 0) {
		ret = loopback_xfer(tx, sizeof(tx), rx, sizeof(rx));
	}
	loopback_teardown();

	ZT_INFO("loopback_read_addr", "ret=%d,data=%02x%02x%02x%02x", ret, rx[4], rx[5],
		rx[6], rx[7]);
	zassert_ok(ret, "spif1 master 0x03 read transceive failed (ret=%d)", ret);
}

/*
 * 过滤矩阵：命令/地址 合法 × 合法/非法 四种组合。
 *
 * 驱动/HW 语义（用户 2026-10-29 明确）：
 *   命令合法 + 地址合法 → 无 ERROR
 *   命令合法 + 地址非法 → ADDR_ERR=1，CMD_ERR=0，ERROR_CMD=命令值，ERROR_ADDR=地址
 *   命令非法 + 地址合法 → CMD_ERR=1，ADDR_ERR=0，ERROR_CMD=命令值
 *   命令非法 + 地址非法 → CMD_ERR=1，ADDR_ERR=0（先查命令，命中即上报）
 *
 * 每项都从 loopback_setup() 的 cold_reset 开始，确保 SPIF_DMA_DATA 无上一项残留；
 * 结束后 teardown 恢复 master/filter 与命令表。
 */
static int loopback_filter_run(bool cmd_legal, bool addr_legal,
			       spif_dma_data_t *before, spif_dma_data_t *err)
{
	const struct device *filter = spif_dev(LOOP_FILTER_IDX);
	const uintptr_t base = spif_reg_base(LOOP_FILTER_IDX);
	static const uint8_t tx[] = { 0x03, 0x00, 0x40, 0x00 };
	uint8_t rx[4 + LOOP_READ_LEN] = { 0 };
	int ret;

	err->value = 0;
	before->value = 0;
	ret = loopback_setup();

	if (ret == 0 && !cmd_legal) {
		/* 只移 0x03：0x9F 仍在白名单，确保是命令过滤而不是链路断 */
		ret = spif_remove_cmd(filter, 0x03);
	}
	if (ret == 0 && !addr_legal) {
		/* cold_reset 默认全片 allow；清掉 0x4000..0x8000 的读 allow 位 */
		ret = spif_address_privilege_config(filter, FLAG_ADDR_PRIV_READ_SELECT,
						    FLAG_ADDR_PRIV_DISABLE, LOOP_READ_ADDR,
						    KB(16));
	}
	if (ret == 0) {
		spif_intr_clr_t clr = {
			.ERROR = 1,
			.ERROR_OVERFLOW = 1,
			.BITMAP = 1,
		};

		/* 读前快照：cold_reset 后 SPIF_DMA_DATA 必须为 0，排除陈旧值假 PASS */
		before->value = sys_read32(base + SPIF_DMA_DATA);
		sys_write32(clr.value, base + SPIF_INTR_CLR);
		ret = loopback_xfer(tx, sizeof(tx), rx, sizeof(rx));
		k_msleep(5);   /* 等 filter ISR 采样 SPIF_DMA_DATA */
		err->value = sys_read32(base + SPIF_DMA_DATA);
	}

	loopback_teardown();
	return ret;
}

ZTEST(spif, loopback_filter_legal_both)
{
	spif_dma_data_t before = { 0 };
	spif_dma_data_t err = { 0 };
	int ret = loopback_filter_run(true, true, &before, &err);

	ZT_INFO("loopback_filter_legal_both",
		"before=%#x,ret=%d,raw=%#x,cmd_err=%d,addr_err=%d,por_addr=%d,error_cmd=%#x,error_addr=%#x",
		before.value, ret, err.value, err.CMD_ERR, err.ADDR_ERR, err.POR_ADDR,
		err.ERROR_CMD, err.ERROR_ADDR << 11);
	zassert_equal(before.value, 0, "SPIF_DMA_DATA must be clean after cold_reset");
	zassert_ok(ret, "legal cmd + legal addr transceive failed (ret=%d)", ret);
	zassert_equal(err.CMD_ERR, 0, "legal cmd must not set CMD_ERR");
	zassert_equal(err.ADDR_ERR, 0, "legal addr must not set ADDR_ERR");
	zassert_equal(err.POR_ADDR, 0, "no POR_ADDR expected");
	zassert_equal(err.ERROR_CMD, 0, "no ERROR_CMD expected");
	zassert_equal(err.ERROR_ADDR, 0, "no ERROR_ADDR expected");
}

ZTEST(spif, loopback_filter_legal_cmd_bad_addr)
{
	spif_dma_data_t before = { 0 };
	spif_dma_data_t err = { 0 };
	int ret = loopback_filter_run(true, false, &before, &err);

	ZT_INFO("loopback_filter_legal_cmd_bad_addr",
		"before=%#x,ret=%d,raw=%#x,cmd_err=%d,addr_err=%d,por_addr=%d,error_cmd=%#x,error_addr=%#x",
		before.value, ret, err.value, err.CMD_ERR, err.ADDR_ERR, err.POR_ADDR,
		err.ERROR_CMD, err.ERROR_ADDR << 11);
	zassert_equal(before.value, 0, "SPIF_DMA_DATA must be clean after cold_reset");
	zassert_ok(ret, "legal cmd + bad addr transceive failed (ret=%d)", ret);
	zassert_equal(err.CMD_ERR, 0, "legal cmd must not set CMD_ERR");
	zassert_equal(err.ADDR_ERR, 1, "bad addr must set ADDR_ERR");
	zassert_equal(err.POR_ADDR, 1, "read-address rejection must set POR_ADDR");
	zassert_equal(err.ERROR_CMD, 0x03, "ERROR_CMD must hold the legal command");
	zassert_equal(err.ERROR_ADDR << 11, LOOP_READ_ADDR,
		      "ERROR_ADDR must hold the blocked address");
}

ZTEST(spif, loopback_filter_bad_cmd_legal_addr)
{
	spif_dma_data_t before = { 0 };
	spif_dma_data_t err = { 0 };
	int ret = loopback_filter_run(false, true, &before, &err);

	ZT_INFO("loopback_filter_bad_cmd_legal_addr",
		"before=%#x,ret=%d,raw=%#x,cmd_err=%d,addr_err=%d,por_addr=%d,error_cmd=%#x,error_addr=%#x",
		before.value, ret, err.value, err.CMD_ERR, err.ADDR_ERR, err.POR_ADDR,
		err.ERROR_CMD, err.ERROR_ADDR << 11);
	zassert_equal(before.value, 0, "SPIF_DMA_DATA must be clean after cold_reset");
	zassert_ok(ret, "bad cmd + legal addr transceive failed (ret=%d)", ret);
	zassert_equal(err.CMD_ERR, 1, "bad cmd must set CMD_ERR");
	zassert_equal(err.ADDR_ERR, 0, "legal addr must not set ADDR_ERR");
	zassert_equal(err.POR_ADDR, 0, "no POR_ADDR on command error");
	zassert_equal(err.ERROR_CMD, 0x03, "ERROR_CMD must hold the blocked command");
	zassert_equal(err.ERROR_ADDR, 0, "ERROR_ADDR must be 0 when only cmd fails");
}

ZTEST(spif, loopback_filter_bad_cmd_bad_addr)
{
	spif_dma_data_t before = { 0 };
	spif_dma_data_t err = { 0 };
	int ret = loopback_filter_run(false, false, &before, &err);

	ZT_INFO("loopback_filter_bad_cmd_bad_addr",
		"before=%#x,ret=%d,raw=%#x,cmd_err=%d,addr_err=%d,por_addr=%d,error_cmd=%#x,error_addr=%#x",
		before.value, ret, err.value, err.CMD_ERR, err.ADDR_ERR, err.POR_ADDR,
		err.ERROR_CMD, err.ERROR_ADDR << 11);
	zassert_equal(before.value, 0, "SPIF_DMA_DATA must be clean after cold_reset");
	zassert_ok(ret, "bad cmd + bad addr transceive failed (ret=%d)", ret);
	zassert_equal(err.CMD_ERR, 1, "bad cmd must set CMD_ERR");
	/* 命令先查，命中后不再上报地址错误 */
	zassert_equal(err.ADDR_ERR, 0, "addr must not be checked after bad cmd");
	zassert_equal(err.POR_ADDR, 0, "no POR_ADDR after command-first rejection");
	zassert_equal(err.ERROR_CMD, 0x03, "ERROR_CMD must hold the blocked command");
	zassert_equal(err.ERROR_ADDR, 0, "ERROR_ADDR must be 0 after command-first rejection");
}
```
